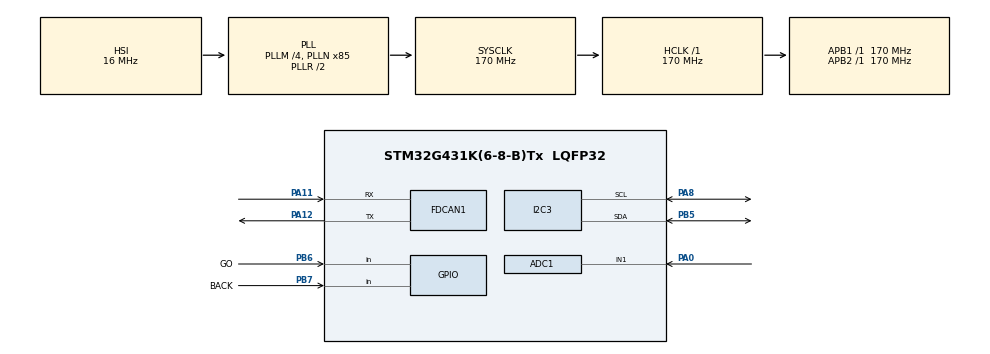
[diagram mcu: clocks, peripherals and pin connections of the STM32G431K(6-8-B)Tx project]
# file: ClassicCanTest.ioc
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ADC1.Channel-0\#ChannelRegularConversion=ADC_CHANNEL_1
ADC1.ContinuousConvMode=ENABLE
ADC1.DMAContinuousRequests=ENABLE
ADC1.NbrOfConversion=1
ADC1.NbrOfConversionFlag=1
ADC1.OffsetNumber-0\#ChannelRegularConversion=ADC_OFFSET_NONE
ADC1.Rank-0\#ChannelRegularConversion=1
ADC1.SamplingTime-0\#ChannelRegularConversion=ADC_SAMPLETIME_640CYCLES_5
ADC1.master=1
Dma.ADC1.0.Direction=DMA_PERIPH_TO_MEMORY
Dma.ADC1.0.EventEnable=DISABLE
Dma.ADC1.0.Instance=DMA1_Channel1
Dma.ADC1.0.MemDataAlignment=DMA_MDATAALIGN_HALFWORD
Dma.ADC1.0.MemInc=DMA_MINC_ENABLE
Dma.ADC1.0.Mode=DMA_CIRCULAR
Dma.ADC1.0.PeriphDataAlignment=DMA_PDATAALIGN_HALFWORD
Dma.ADC1.0.PeriphInc=DMA_PINC_DISABLE
Dma.ADC1.0.Polarity=HAL_DMAMUX_REQ_GEN_RISING
Dma.ADC1.0.Priority=DMA_PRIORITY_LOW
Dma.ADC1.0.RequestNumber=1
Dma.ADC1.0.SignalID=NONE
Dma.ADC1.0.SyncEnable=DISABLE
Dma.ADC1.0.SyncPolarity=HAL_DMAMUX_SYNC_NO_EVENT
Dma.ADC1.0.SyncRequestNumber=1
Dma.ADC1.0.SyncSignalID=NONE
Dma.Request0=ADC1
FDCAN1.AutoRetransmission=DISABLE
FDCAN1.CalculateBaudRateNominal=1000000
FDCAN1.CalculateTimeBitNominal=1000
FDCAN1.CalculateTimeQuantumNominal=100.0
FDCAN1.DataTimeSeg1=1
FDCAN1.DataTimeSeg2=1
FDCAN1.NominalPrescaler=17
FDCAN1.NominalTimeSeg1=7
FDCAN1.NominalTimeSeg2=2
FDCAN1.StdFiltersNbr=1
I2C3.Timing=0x40B285C2
Mcu.Family=STM32G4
Mcu.Name=STM32G431K(6-8-B)Tx
Mcu.Package=LQFP32
NVIC.DMA1_Channel1_IRQn=true\:0\:0\:false\:false\:true\:false\:true\:true
NVIC.FDCAN1_IT0_IRQn=true\:0\:0\:false\:false\:true\:true\:true\:true
NVIC.PriorityGroup=NVIC_PRIORITYGROUP_4
PA0.Mode=IN1-Single-Ended
PA0.Signal=ADC1_IN1
PA11.Mode=FDCAN_Activate
PA11.Signal=FDCAN1_RX
PA12.Mode=FDCAN_Activate
PA12.Signal=FDCAN1_TX
PA8.Mode=I2C
PA8.Signal=I2C3_SCL
PB5.Mode=I2C
PB5.Signal=I2C3_SDA
PB6.GPIO_Label=GO
PB6.Signal=GPIO_Input
PB7.GPIO_Label=BACK
PB7.Signal=GPIO_Input
ProjectManager.HeapSize=0x200
ProjectManager.StackSize=0x400
ProjectManager.TargetToolchain=STM32CubeIDE
RCC.ADC12Freq_Value=170000000
RCC.AHBFreq_Value=170000000
RCC.APB1Freq_Value=170000000
RCC.APB1TimFreq_Value=170000000
RCC.APB2Freq_Value=170000000
RCC.APB2TimFreq_Value=170000000
RCC.CortexFreq_Value=170000000
RCC.EXTERNAL_CLOCK_VALUE=12288000
RCC.HCLKFreq_Value=170000000
RCC.HSE_VALUE=8000000
RCC.HSI48_VALUE=48000000
RCC.HSI_VALUE=16000000
RCC.LSE_VALUE=32768
RCC.PLLM=RCC_PLLM_DIV4
RCC.PLLN=85
RCC.SYSCLKFreq_VALUE=170000000
RCC.SYSCLKSource=RCC_SYSCLKSOURCE_PLLCLK
RCC.USBFreq_Value=170000000
RCC.VCOOutputFreq_Value=340000000
VP_SYS_VS_DBSignals.Mode=DisableDeadBatterySignals
board=custom

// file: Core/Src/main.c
/* USER CODE BEGIN Header */
/**
 * Classic CANでテスト用．
 * エラー時の原因をわかりやすく表示します
  ******************************************************************************
  * @file           : main.c
  * @brief          : Main program body
  ******************************************************************************
  * @attention
  *
  * Copyright (c) 2025 STMicroelectronics.
  * All rights reserved.
  *
  * This software is licensed under terms that can be found in the LICENSE file
  * in the root directory of this software component.
  * If no LICENSE file comes with this software, it is provided AS-IS.
  *
  ******************************************************************************
  */
/* USER CODE END Header */
#include "main.h"

/* USER CODE BEGIN Includes */
#include "ssd1306.h"
#include "fonts.h"
#include <string.h>
/* USER CODE END Includes */

ADC_HandleTypeDef hadc1;
DMA_HandleTypeDef hdma_adc1;

FDCAN_HandleTypeDef hfdcan1;

I2C_HandleTypeDef hi2c3;

/* USER CODE BEGIN PV */
FDCAN_TxHeaderTypeDef TxHeader;
uint8_t TxData[8] = {0,1,2,3,4,5,6,7};
uint32_t id;
uint8_t data[8];
FDCAN_RxHeaderTypeDef RxHeader;

uint32_t adc_value=0;

char text[10];
/* USER CODE END PV */

void SystemClock_Config(void);
static void MX_GPIO_Init(void);
static void MX_DMA_Init(void);
static void MX_ADC1_Init(void);
static void MX_FDCAN1_Init(void);
static void MX_I2C3_Init(void);
/* USER CODE BEGIN PFP */
static void FDCAN_Config(void){
	FDCAN_FilterTypeDef sFilterConfig;
    sFilterConfig.IdType = FDCAN_STANDARD_ID;
    sFilterConfig.FilterIndex = 0;
    sFilterConfig.FilterType = FDCAN_FILTER_MASK;
    sFilterConfig.FilterConfig = FDCAN_FILTER_TO_RXFIFO0;
    sFilterConfig.FilterID1 = 0x7FF;
    sFilterConfig.FilterID2 = 0x000;
    if(HAL_FDCAN_ConfigFilter(&hfdcan1, &sFilterConfig) != HAL_OK){
        Error_Handler();
    }
    /* Configure global filter to reject all non-matching frames */
    if(HAL_FDCAN_ConfigGlobalFilter(&hfdcan1, FDCAN_REJECT, FDCAN_REJECT, FDCAN_REJECT_REMOTE, FDCAN_REJECT_REMOTE) != HAL_OK){
        Error_Handler();
    }
    if(HAL_FDCAN_Start(&hfdcan1) != HAL_OK){
        Error_Handler();
    }
    if(HAL_FDCAN_ActivateNotification(&hfdcan1, FDCAN_IT_RX_FIFO0_NEW_MESSAGE, 0) != HAL_OK){
        Error_Handler();
    }
	TxHeader.Identifier = 0x001;
	TxHeader.IdType = FDCAN_STANDARD_ID;
	TxHeader.TxFrameType = FDCAN_DATA_FRAME;
	TxHeader.DataLength = FDCAN_DLC_BYTES_8;
	TxHeader.ErrorStateIndicator = FDCAN_ESI_ACTIVE;
	TxHeader.BitRateSwitch = FDCAN_BRS_OFF;
	TxHeader.FDFormat = FDCAN_CLASSIC_CAN;
	TxHeader.TxEventFifoControl = FDCAN_NO_TX_EVENTS;
	TxHeader.MessageMarker = 0;
}

void HAL_FDCAN_RxFifo0Callback(FDCAN_HandleTypeDef *hfdcan, uint32_t RxFifo0ITs){
	FDCAN_RxHeaderTypeDef RxHeader;
    if((RxFifo0ITs & FDCAN_IT_RX_FIFO0_NEW_MESSAGE) != RESET){
        if(HAL_FDCAN_GetRxMessage(hfdcan, FDCAN_RX_FIFO0, &RxHeader, (uint8_t*)data) != HAL_OK){
            Error_Handler();
        }
    }
}
/* USER CODE END PFP */

int main(void)
{

  /* MCU Configuration--------------------------------------------------------*/

  /* Reset of all peripherals, Initializes the Flash interface and the Systick. */
  HAL_Init();

  /* Configure the system clock */
  SystemClock_Config();

  /* Initialize all configured peripherals */
  MX_GPIO_Init();
  MX_DMA_Init();
  MX_ADC1_Init();
  MX_FDCAN1_Init();
  MX_I2C3_Init();
  /* USER CODE BEGIN 2 */
  FDCAN_Config();

  //for ssd1306
  ssd1306_Init(&hi2c3);
  ssd1306_SetCursor(0, 36);
  ssd1306_WriteString("Hello World", Font_11x18, White);
  ssd1306_UpdateScreen(&hi2c3);
  HAL_ADCEx_Calibration_Start(&hadc1, ADC_SINGLE_ENDED);
  HAL_ADC_Start_DMA(&hadc1,(uint32_t *)&adc_value, 1);
  /* USER CODE END 2 */

  /* Infinite loop */
  /* USER CODE BEGIN WHILE */
  while (1)
  {
	  ssd1306_Fill(Black);

	  sprintf(text,"%u",adc_value);
	  ssd1306_SetCursor(0,30);
	  ssd1306_WriteString(text,Font_7x10,White);

	  TxData[0] = adc_value % 100;
	  TxData[1] = adc_value % 100 + 1;
	  TxData[2] = adc_value % 100 + 2;
	  TxData[3] = adc_value % 100 + 3;
	  TxData[4] = adc_value % 100 + 4;
	  TxData[5] = adc_value % 100 + 5;
	  TxData[6] = adc_value % 100 + 6;
	  TxData[7] = adc_value % 100 + 7;
	  if (HAL_FDCAN_GetTxFifoFreeLevel(&hfdcan1) > 0) {
		  if (HAL_FDCAN_AddMessageToTxFifoQ(&hfdcan1, &TxHeader, TxData) == HAL_OK) {
			  //送信した時に行いたい処理
			  ssd1306_SetCursor(0, 10);
			  ssd1306_WriteString("HAL_OK", Font_7x10, White);
		  }
	  }else{
		  ssd1306_SetCursor(0, 10);
		  ssd1306_WriteString("FreeLevel = 0", Font_7x10, White);
	  }

	  ssd1306_UpdateScreen(&hi2c3);
	  HAL_Delay(10);
    /* USER CODE END WHILE */

  }
}

void SystemClock_Config(void)
{
  RCC_OscInitTypeDef RCC_OscInitStruct = {0};
  RCC_ClkInitTypeDef RCC_ClkInitStruct = {0};

  /** Configure the main internal regulator output voltage
  */
  HAL_PWREx_ControlVoltageScaling(PWR_REGULATOR_VOLTAGE_SCALE1_BOOST);

  /** Initializes the RCC Oscillators according to the specified parameters
  * in the RCC_OscInitTypeDef structure.
  */
  RCC_OscInitStruct.OscillatorType = RCC_OSCILLATORTYPE_HSI;
  RCC_OscInitStruct.HSIState = RCC_HSI_ON;
  RCC_OscInitStruct.HSICalibrationValue = RCC_HSICALIBRATION_DEFAULT;
  RCC_OscInitStruct.PLL.PLLState = RCC_PLL_ON;
  RCC_OscInitStruct.PLL.PLLSource = RCC_PLLSOURCE_HSI;
  RCC_OscInitStruct.PLL.PLLM = RCC_PLLM_DIV4;
  RCC_OscInitStruct.PLL.PLLN = 85;
  RCC_OscInitStruct.PLL.PLLP = RCC_PLLP_DIV2;
  RCC_OscInitStruct.PLL.PLLQ = RCC_PLLQ_DIV2;
  RCC_OscInitStruct.PLL.PLLR = RCC_PLLR_DIV2;
  if (HAL_RCC_OscConfig(&RCC_OscInitStruct) != HAL_OK)
  {
    Error_Handler();
  }

  /** Initializes the CPU, AHB and APB buses clocks
  */
  RCC_ClkInitStruct.ClockType = RCC_CLOCKTYPE_HCLK|RCC_CLOCKTYPE_SYSCLK
                              |RCC_CLOCKTYPE_PCLK1|RCC_CLOCKTYPE_PCLK2;
  RCC_ClkInitStruct.SYSCLKSource = RCC_SYSCLKSOURCE_PLLCLK;
  RCC_ClkInitStruct.AHBCLKDivider = RCC_SYSCLK_DIV1;
  RCC_ClkInitStruct.APB1CLKDivider = RCC_HCLK_DIV1;
  RCC_ClkInitStruct.APB2CLKDivider = RCC_HCLK_DIV1;

  if (HAL_RCC_ClockConfig(&RCC_ClkInitStruct, FLASH_LATENCY_4) != HAL_OK)
  {
    Error_Handler();
  }
}

static void MX_ADC1_Init(void)
{

  ADC_MultiModeTypeDef multimode = {0};
  ADC_ChannelConfTypeDef sConfig = {0};

  /** Common config
  */
  hadc1.Instance = ADC1;
  hadc1.Init.ClockPrescaler = ADC_CLOCK_SYNC_PCLK_DIV4;
  hadc1.Init.Resolution = ADC_RESOLUTION_12B;
  hadc1.Init.DataAlign = ADC_DATAALIGN_RIGHT;
  hadc1.Init.GainCompensation = 0;
  hadc1.Init.ScanConvMode = ADC_SCAN_DISABLE;
  hadc1.Init.EOCSelection = ADC_EOC_SINGLE_CONV;
  hadc1.Init.LowPowerAutoWait = DISABLE;
  hadc1.Init.ContinuousConvMode = ENABLE;
  hadc1.Init.NbrOfConversion = 1;
  hadc1.Init.DiscontinuousConvMode = DISABLE;
  hadc1.Init.ExternalTrigConv = ADC_SOFTWARE_START;
  hadc1.Init.ExternalTrigConvEdge = ADC_EXTERNALTRIGCONVEDGE_NONE;
  hadc1.Init.DMAContinuousRequests = ENABLE;
  hadc1.Init.Overrun = ADC_OVR_DATA_PRESERVED;
  hadc1.Init.OversamplingMode = DISABLE;
  if (HAL_ADC_Init(&hadc1) != HAL_OK)
  {
    Error_Handler();
  }

  /** Configure the ADC multi-mode
  */
  multimode.Mode = ADC_MODE_INDEPENDENT;
  if (HAL_ADCEx_MultiModeConfigChannel(&hadc1, &multimode) != HAL_OK)
  {
    Error_Handler();
  }

  /** Configure Regular Channel
  */
  sConfig.Channel = ADC_CHANNEL_1;
  sConfig.Rank = ADC_REGULAR_RANK_1;
  sConfig.SamplingTime = ADC_SAMPLETIME_640CYCLES_5;
  sConfig.SingleDiff = ADC_SINGLE_ENDED;
  sConfig.OffsetNumber = ADC_OFFSET_NONE;
  sConfig.Offset = 0;
  if (HAL_ADC_ConfigChannel(&hadc1, &sConfig) != HAL_OK)
  {
    Error_Handler();
  }

}

static void MX_FDCAN1_Init(void)
{

  hfdcan1.Instance = FDCAN1;
  hfdcan1.Init.ClockDivider = FDCAN_CLOCK_DIV1;
  hfdcan1.Init.FrameFormat = FDCAN_FRAME_CLASSIC;
  hfdcan1.Init.Mode = FDCAN_MODE_NORMAL;
  hfdcan1.Init.AutoRetransmission = DISABLE;
  hfdcan1.Init.TransmitPause = DISABLE;
  hfdcan1.Init.ProtocolException = DISABLE;
  hfdcan1.Init.NominalPrescaler = 17;
  hfdcan1.Init.NominalSyncJumpWidth = 1;
  hfdcan1.Init.NominalTimeSeg1 = 7;
  hfdcan1.Init.NominalTimeSeg2 = 2;
  hfdcan1.Init.DataPrescaler = 1;
  hfdcan1.Init.DataSyncJumpWidth = 1;
  hfdcan1.Init.DataTimeSeg1 = 1;
  hfdcan1.Init.DataTimeSeg2 = 1;
  hfdcan1.Init.StdFiltersNbr = 1;
  hfdcan1.Init.ExtFiltersNbr = 0;
  hfdcan1.Init.TxFifoQueueMode = FDCAN_TX_FIFO_OPERATION;
  if (HAL_FDCAN_Init(&hfdcan1) != HAL_OK)
  {
    Error_Handler();
  }

}

static void MX_I2C3_Init(void)
{

  hi2c3.Instance = I2C3;
  hi2c3.Init.Timing = 0x40B285C2;
  hi2c3.Init.OwnAddress1 = 0;
  hi2c3.Init.AddressingMode = I2C_ADDRESSINGMODE_7BIT;
  hi2c3.Init.DualAddressMode = I2C_DUALADDRESS_DISABLE;
  hi2c3.Init.OwnAddress2 = 0;
  hi2c3.Init.OwnAddress2Masks = I2C_OA2_NOMASK;
  hi2c3.Init.GeneralCallMode = I2C_GENERALCALL_DISABLE;
  hi2c3.Init.NoStretchMode = I2C_NOSTRETCH_DISABLE;
  if (HAL_I2C_Init(&hi2c3) != HAL_OK)
  {
    Error_Handler();
  }

  /** Configure Analogue filter
  */
  if (HAL_I2CEx_ConfigAnalogFilter(&hi2c3, I2C_ANALOGFILTER_ENABLE) != HAL_OK)
  {
    Error_Handler();
  }

  /** Configure Digital filter
  */
  if (HAL_I2CEx_ConfigDigitalFilter(&hi2c3, 0) != HAL_OK)
  {
    Error_Handler();
  }

}

static void MX_DMA_Init(void)
{

  /* DMA controller clock enable */
  __HAL_RCC_DMAMUX1_CLK_ENABLE();
  __HAL_RCC_DMA1_CLK_ENABLE();

  /* DMA interrupt init */
  /* DMA1_Channel1_IRQn interrupt configuration */
  HAL_NVIC_SetPriority(DMA1_Channel1_IRQn, 0, 0);
  HAL_NVIC_EnableIRQ(DMA1_Channel1_IRQn);

}

static void MX_GPIO_Init(void)
{
  GPIO_InitTypeDef GPIO_InitStruct = {0};

  /* GPIO Ports Clock Enable */
  __HAL_RCC_GPIOA_CLK_ENABLE();
  __HAL_RCC_GPIOB_CLK_ENABLE();

  /*Configure GPIO pins : GO_Pin BACK_Pin */
  GPIO_InitStruct.Pin = GO_Pin|BACK_Pin;
  GPIO_InitStruct.Mode = GPIO_MODE_INPUT;
  GPIO_InitStruct.Pull = GPIO_NOPULL;
  HAL_GPIO_Init(GPIOB, &GPIO_InitStruct);

}

void Error_Handler(void)
{
  __disable_irq();
  while (1)
  {
  }
}
